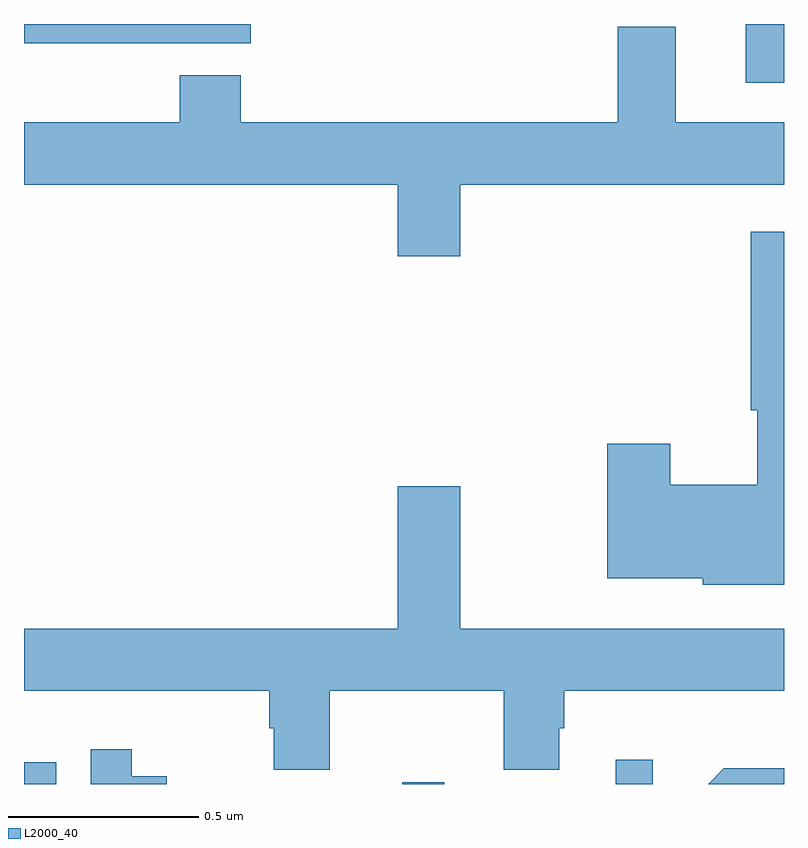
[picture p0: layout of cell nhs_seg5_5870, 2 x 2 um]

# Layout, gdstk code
import gdstk
lib = gdstk.Library(unit=1e-6, precision=1e-09)
def R(c, l, rs):  # rectangles x0, y0, x1, y1
    for r in rs: c.add(gdstk.rectangle(r[:2], r[2:], *l))
def P(c, l, *ps):  # polygons
    for p in ps: c.add(gdstk.Polygon(p, *l))
L2000_40 = (2000, 40)

nhs_seg5_5870 = lib.new_cell('nhs_seg5_5870')
R(nhs_seg5_5870, L2000_40, [(188,905.799,188.085,905.856), (188.995,905.799,189.106,905.803), (189.557,905.799,189.654,905.863), (189.899,907.644,190,907.799)])
P(nhs_seg5_5870, L2000_40, [(188.347,907.749),(188.597,907.749),(188.597,907.799),(188,907.799),(188,907.749),(188.115,907.749),(188.115,907.748),(188.347,907.748)],
  [(189.148,907.376),(190,907.376),(190,907.54),(189.715,907.54),(189.715,907.792),(189.563,907.792),(189.563,907.54),(188.57,907.54),(188.57,907.664),(188.41,907.664),(188.41,907.54),(188,907.54),(188,907.376),(188.984,907.376),(188.984,907.188),(189.148,907.188)],
  [(190,907.252),(189.912,907.252),(189.912,906.782),(189.929,906.782),(189.929,906.586),(189.7,906.586),(189.7,906.694),(189.535,906.694),(189.535,906.341),(189.786,906.341),(189.786,906.323),(190,906.323)],
  [(188.805,906.044),(189.262,906.044),(189.262,905.836),(189.409,905.836),(189.409,905.946),(189.422,905.946),(189.422,906.044),(190,906.044),(190,906.208),(189.148,906.208),(189.148,906.583),(188.984,906.583),(188.984,906.208),(188,906.208),(188,906.044),(188.645,906.044),(188.645,905.946),(188.657,905.946),(188.657,905.836),(188.805,905.836)],
  [(188.376,905.82),(188.284,905.82),(188.284,905.89),(188.175,905.89),(188.175,905.799),(188.376,905.799)],
  [(190,905.84),(189.842,905.84),(189.801,905.799),(190,905.799)])

lib.write_gds('nhs_seg5_5870.gds')
